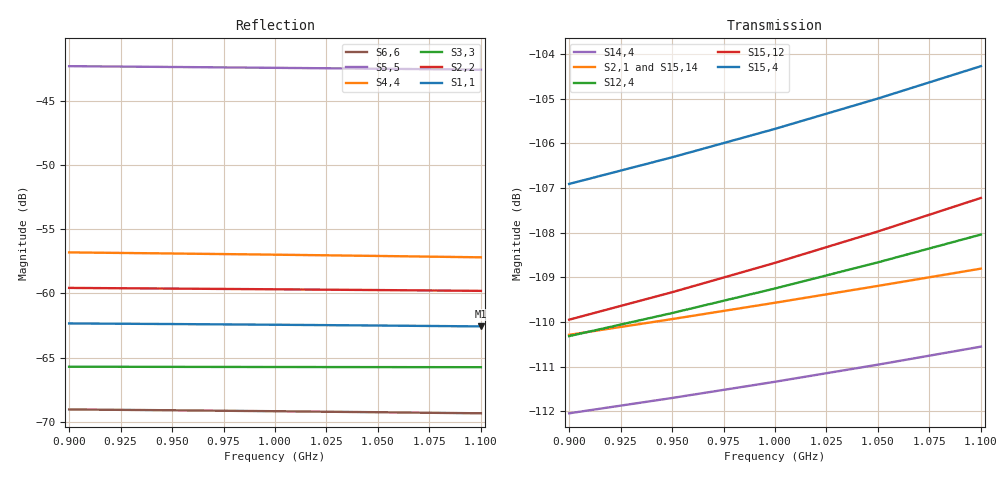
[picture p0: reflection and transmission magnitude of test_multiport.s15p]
! Touchstone file from project test_multiport
! Exported from HFSS 2019.2.0
!Data is not renormalized
# GHZ S MA
! Modal data exported
! Port[1] = 1:1
! Port[2] = 2:1
! Port[3] = 3:1
! Port[4] = 4:1
! Port[5] = 5:1
! Port[6] = 6:1
! Port[7] = 7:1
! Port[8] = 8:1
! Port[9] = 9:1
! Port[10] = 10:1
! Port[11] = 11:1
! Port[12] = 12:1
! Port[13] = 13:1
! Port[14] = 14:1
! Port[15] = 15:1
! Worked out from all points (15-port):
!   5 points, 900 MHz to 1.1 GHz, reference per port
!   strongest paths, dB at 900 MHz, 950 MHz, 1 GHz, 1.05 GHz, 1.1 GHz:
!     S15,4: -106.9, -106.3, -105.7, -105.0, -104.3
!     S15,12: -109.9, -109.3, -108.7, -108.0, -107.2
!     S12,4: -110.3, -109.8, -109.2, -108.7, -108.0
!     S2,1: -110.3, -109.9, -109.6, -109.2, -108.8
!     S15,14: -110.5, -110.1, -109.7, -109.3, -108.9
!     S14,4: -112.0, -111.7, -111.3, -111.0, -110.6
!   lowest |S11| = -62.6 dB at 1.1 GHz (marker M1), VSWR 1.00
!   |S11| at or under -10 dB: start of sweep to end of sweep
